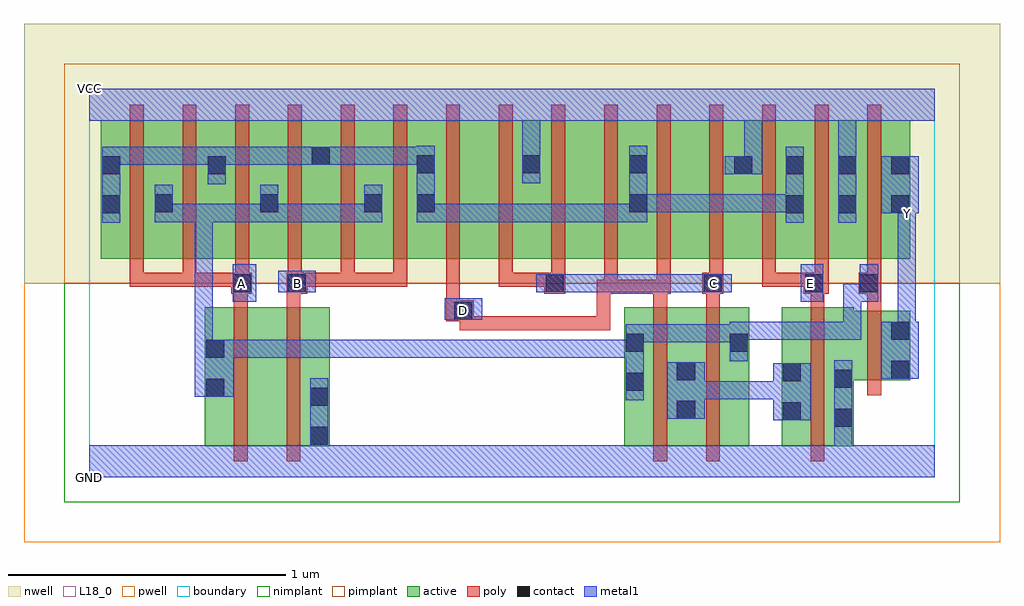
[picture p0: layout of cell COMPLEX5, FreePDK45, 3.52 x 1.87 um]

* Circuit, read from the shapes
.subckt COMPLEX5 A B C D E GND VCC Y
M1 n1 A n2 VSUBS nfet w=0.5u l=0.05u
M2 GND B n1 VSUBS nfet w=0.5u l=0.05u
M3 n3 D n2 VSUBS nfet w=0.5u l=0.05u
M4 n2 C n3 VSUBS nfet w=0.5u l=0.05u
M5 GND E n3 VSUBS nfet w=0.5u l=0.05u
M6 Y n2 GND VSUBS nfet w=0.25u l=0.05u
M7 n2 A n4 n5 pfet w=0.5u l=0.05u m=3
M8 n4 B n2 n5 pfet w=0.5u l=0.05u m=3
M9 n6 D n4 n5 pfet w=0.5u l=0.05u
M10 VCC C n6 n5 pfet w=0.5u l=0.05u
M11 n7 C VCC n5 pfet w=0.5u l=0.05u
M12 n4 D n7 n5 pfet w=0.5u l=0.05u
M13 n8 D n4 n5 pfet w=0.5u l=0.05u
M14 VCC C n8 n5 pfet w=0.5u l=0.05u
M15 n4 E VCC n5 pfet w=0.5u l=0.05u m=2
M16 Y n2 VCC n5 pfet w=0.5u l=0.05u
.ends

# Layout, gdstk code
import gdstk
lib = gdstk.Library(unit=1e-6, precision=1e-09)
def R(c, l, rs):  # rectangles x0, y0, x1, y1
    for r in rs: c.add(gdstk.rectangle(r[:2], r[2:], *l))
def A(c, l, x, y, w, h, nx, ny, dx, dy):  # array of equal rectangles
    R(c, l, [(x+i*dx, y+j*dy, x+i*dx+w, y+j*dy+h) for i in range(nx) for j in range(ny)])
active = (1, 0)
pwell = (2, 0)
nwell = (3, 0)
nimplant = (4, 0)
pimplant = (5, 0)
poly = (9, 0)
contact = (10, 0)
metal1 = (11, 0)
L18_0 = (18, 0)
boundary = (235, 0)

complex5 = lib.new_cell('COMPLEX5')
A(complex5, active, 0.042, 0.787, 0.265, 0.5, 3, 1, 0.19, 0)
R(complex5, active, [(0.417,0.112,0.642,0.612), (0.642,0.112,0.867,0.612), (0.792,0.112,0.867,0.612), (1.93,0.112,2.19,0.612), (2.115,0.112,2.38,0.612), (2.497,0.112,2.757,0.612), (0.417,0.145,0.522,0.612), (1.93,0.145,2.005,0.612), (2.115,0.145,2.19,0.592), (2.305,0.145,2.38,0.612), (2.497,0.145,2.572,0.612), (2.682,0.177,2.757,0.497), (2.682,0.35,2.962,0.6), (2.887,0.35,2.962,0.6), (0.042,0.787,0.117,1.2), (0.612,0.787,0.872,1.287), (0.797,0.787,1.062,1.287), (0.987,0.787,1.252,1.287), (1.177,0.787,1.407,1.287), (1.407,0.787,1.632,1.287), (1.557,0.787,1.787,1.287), (1.787,0.787,2.017,1.287), (1.942,0.787,2.167,1.287), (2.167,0.787,2.397,1.287), (2.322,0.787,2.582,1.287), (2.507,0.787,2.772,1.287), (2.697,0.787,2.962,1.287), (2.887,0.787,2.962,1.2), (0.232,0.807,0.307,1.07), (0.422,0.807,0.497,1.2), (0.612,0.807,0.687,1.07), (0.797,0.807,0.872,1.2), (0.987,0.807,1.062,1.07), (1.177,0.807,1.252,1.2), (1.557,0.807,1.632,1.255), (1.942,0.807,2.017,1.2), (2.322,0.807,2.397,1.255), (2.507,0.807,2.582,1.2), (2.697,0.807,2.772,1.255)])
R(complex5, pwell, [(-0.235,-0.235,3.285,0.7)])
R(complex5, nwell, [(-0.235,0.7,3.285,1.635)])
R(complex5, nimplant, [(-0.09,-0.09,3.14,0.7)])
R(complex5, pimplant, [(-0.09,0.7,3.14,1.49)])
A(complex5, poly, 0.147, 0.687, 0.05, 0.095, 6, 1, 0.19, 0)
A(complex5, poly, 2.237, 0.687, 0.05, 0.095, 4, 1, 0.19, 0)
A(complex5, poly, 0.147, 0.732, 0.05, 0.61, 15, 1, 0.19, 0)
R(complex5, poly, [(0.522,0.057,0.572,0.667), (0.712,0.057,0.762,0.667), (2.035,0.057,2.085,0.667), (2.225,0.057,2.275,0.667), (2.602,0.057,2.652,0.667), (2.807,0.295,2.857,0.655), (1.337,0.53,1.387,0.58), (1.337,0.53,1.387,0.58), (1.337,0.53,1.387,0.58), (1.337,0.53,1.56,0.58), (1.337,0.53,1.387,0.612), (1.51,0.53,1.56,0.58), (1.51,0.53,1.747,0.58), (1.697,0.53,1.747,0.58), (1.697,0.53,1.747,0.58), (1.697,0.53,1.747,0.58), (1.697,0.53,1.88,0.58), (1.83,0.53,1.88,0.58), (1.83,0.53,1.88,0.58), (1.83,0.53,1.88,0.58), (1.83,0.53,1.88,0.58), (1.83,0.53,1.88,0.58), (1.83,0.53,1.88,0.712), (1.287,0.562,1.387,0.637), (1.337,0.562,1.387,0.612), (1.337,0.562,1.387,0.612), (1.287,0.587,1.337,0.782), (2.807,0.605,2.857,0.712), (0.522,0.617,0.572,0.712), (0.712,0.617,0.762,0.712), (2.035,0.617,2.085,0.712), (2.225,0.617,2.275,0.712), (2.602,0.617,2.652,0.712), (0.512,0.662,0.587,0.737), (0.712,0.662,0.787,0.737), (1.642,0.662,1.717,0.737), (1.83,0.662,1.907,0.712), (1.857,0.662,1.907,0.782), (1.857,0.662,2.085,0.712), (2.035,0.662,2.085,0.712), (2.035,0.662,2.085,0.712), (2.035,0.662,2.097,0.712), (2.047,0.662,2.097,0.782), (2.212,0.662,2.287,0.737), (2.577,0.662,2.667,0.737), (2.775,0.662,2.857,0.737), (0.147,0.687,0.197,0.737), (0.147,0.687,0.197,0.737), (0.147,0.687,0.197,0.737), (0.147,0.687,0.387,0.737), (0.337,0.687,0.387,0.737), (0.337,0.687,0.387,0.737), (0.337,0.687,0.387,0.737), (0.337,0.687,0.562,0.737), (0.737,0.687,0.787,0.737), (0.737,0.687,0.787,0.737), (0.737,0.687,0.957,0.737), (0.907,0.687,0.957,0.737), (0.907,0.687,0.957,0.737), (0.907,0.687,0.957,0.737), (0.907,0.687,1.147,0.737), (1.097,0.687,1.147,0.737), (1.477,0.687,1.527,0.782), (1.477,0.687,1.527,0.737), (1.477,0.687,1.527,0.737), (1.477,0.687,1.527,0.737), (1.477,0.687,1.692,0.737), (1.667,0.687,1.717,0.782), (2.427,0.687,2.627,0.737), (2.427,0.687,2.477,0.737), (2.427,0.687,2.477,0.737), (2.427,0.687,2.477,0.737)])
A(complex5, contact, 2.512, 0.952, 0.065, 0.065, 3, 2, 0.19, 0.14)
R(complex5, contact, [(0.797,0.117,0.862,0.182), (2.687,0.182,2.752,0.247), (2.502,0.205,2.567,0.27), (2.12,0.21,2.185,0.275), (0.797,0.257,0.862,0.322), (0.422,0.29,0.487,0.355), (1.935,0.312,2,0.377), (2.687,0.322,2.752,0.387), (2.502,0.345,2.567,0.41), (2.12,0.35,2.185,0.415), (2.892,0.355,2.957,0.42), (0.422,0.43,0.487,0.495), (1.935,0.452,2,0.517), (2.31,0.452,2.375,0.517), (2.892,0.495,2.957,0.56), (1.317,0.567,1.382,0.632), (0.517,0.667,0.582,0.732), (0.717,0.667,0.782,0.732), (1.647,0.667,1.712,0.732), (2.217,0.667,2.282,0.732), (2.582,0.667,2.647,0.732), (2.78,0.667,2.845,0.732), (0.047,0.952,0.112,1.017), (0.237,0.955,0.302,1.02), (0.617,0.955,0.682,1.02), (0.992,0.955,1.057,1.02), (1.182,0.955,1.247,1.02), (1.947,0.955,2.012,1.02), (0.047,1.092,0.112,1.157), (0.427,1.092,0.492,1.157), (2.327,1.092,2.392,1.157), (1.182,1.095,1.247,1.16), (1.562,1.095,1.627,1.16), (1.947,1.095,2.012,1.16), (0.802,1.127,0.867,1.192)])
R(complex5, metal1, [(0,0,3.05,0.115), (0.797,0.05,0.862,0.147), (2.687,0.05,2.752,0.115), (2.687,0.05,2.752,0.115), (2.687,0.05,2.752,0.212), (0.797,0.082,0.862,0.147), (0.797,0.082,0.862,0.147), (0.797,0.082,0.862,0.357), (2.687,0.147,2.752,0.422), (2.467,0.205,2.602,0.41), (2.085,0.21,2.22,0.415), (1.935,0.277,2,0.552), (2.155,0.28,2.22,0.345), (2.155,0.28,2.22,0.345), (2.155,0.28,2.395,0.345), (2.33,0.28,2.395,0.345), (2.33,0.28,2.395,0.345), (2.33,0.28,2.395,0.345), (2.33,0.28,2.532,0.345), (0.38,0.29,0.522,0.495), (2.857,0.355,2.992,0.56), (2.31,0.417,2.375,0.552), (0.38,0.43,0.445,0.495), (0.38,0.43,0.445,0.495), (0.38,0.43,0.445,0.985), (0.457,0.43,0.522,0.495), (0.457,0.43,0.522,0.495), (0.457,0.43,0.66,0.495), (0.595,0.43,0.66,0.495), (0.595,0.43,0.66,0.495), (0.595,0.43,0.66,0.495), (0.595,0.43,0.832,0.495), (0.767,0.43,0.832,0.495), (0.767,0.43,0.832,0.495), (0.767,0.43,0.832,0.495), (0.767,0.43,1.057,0.495), (0.992,0.43,1.057,0.495), (0.992,0.43,1.195,0.495), (1.13,0.43,1.195,0.495), (1.13,0.43,1.195,0.495), (1.13,0.43,1.195,0.495), (1.13,0.43,1.402,0.495), (1.337,0.43,1.402,0.495), (1.337,0.43,1.402,0.495), (1.337,0.43,1.402,0.495), (1.337,0.43,1.54,0.495), (1.475,0.43,1.54,0.495), (1.475,0.43,1.54,0.495), (1.475,0.43,1.54,0.495), (1.475,0.43,1.677,0.495), (1.612,0.43,1.677,0.495), (1.612,0.43,1.677,0.495), (1.612,0.43,1.677,0.495), (1.612,0.43,1.885,0.495), (1.82,0.43,1.885,0.495), (1.82,0.43,2,0.495), (1.935,0.487,2.022,0.552), (1.957,0.487,2.022,0.552), (1.957,0.487,2.22,0.552), (2.155,0.487,2.22,0.552), (2.155,0.487,2.22,0.552), (2.155,0.487,2.22,0.552), (2.155,0.487,2.375,0.552), (2.31,0.487,2.375,0.552), (2.31,0.487,2.375,0.56), (2.31,0.495,2.532,0.56), (2.467,0.495,2.532,0.56), (2.467,0.495,2.532,0.56), (2.467,0.495,2.532,0.56), (2.467,0.495,2.785,0.56), (2.72,0.495,2.785,0.56), (2.72,0.495,2.785,0.697), (2.917,0.495,2.982,0.947), (1.282,0.567,1.417,0.645), (0.517,0.632,0.602,0.767), (2.567,0.632,2.647,0.767), (2.72,0.632,2.785,0.697), (2.72,0.632,2.845,0.697), (2.78,0.632,2.845,0.767), (0.682,0.667,0.817,0.745), (1.612,0.667,1.747,0.732), (1.682,0.667,1.747,0.732), (1.682,0.667,1.747,0.732), (1.682,0.667,1.885,0.732), (1.82,0.667,1.885,0.732), (1.82,0.667,1.885,0.732), (1.82,0.667,1.885,0.732), (1.82,0.667,2.022,0.732), (1.957,0.667,2.022,0.732), (1.957,0.667,2.22,0.732), (2.155,0.667,2.22,0.732), (2.155,0.667,2.247,0.732), (2.182,0.667,2.317,0.732), (2.917,0.882,2.982,1.017), (0.047,0.917,0.112,1.192), (2.512,0.917,2.577,1.192), (2.702,0.917,2.767,1.192), (0.237,0.92,0.302,0.985), (0.237,0.92,0.302,0.985), (0.237,0.92,0.302,1.055), (0.237,0.92,0.445,0.985), (0.38,0.92,0.445,0.985), (0.38,0.92,0.445,0.985), (0.38,0.92,0.445,0.985), (0.38,0.92,0.682,0.985), (0.617,0.92,0.682,0.985), (0.617,0.92,0.682,0.985), (0.617,0.92,0.682,1.055), (0.617,0.92,0.92,0.985), (0.855,0.92,0.92,0.985), (0.855,0.92,0.92,0.985), (0.855,0.92,0.92,0.985), (0.855,0.92,1.057,0.985), (0.992,0.92,1.057,1.055), (1.182,0.92,1.247,0.985), (1.182,0.92,1.247,0.985), (1.182,0.92,1.247,1.195), (1.182,0.92,1.385,0.985), (1.32,0.92,1.385,0.985), (1.32,0.92,1.385,0.985), (1.32,0.92,1.385,0.985), (1.32,0.92,1.54,0.985), (1.475,0.92,1.54,0.985), (1.475,0.92,1.54,0.985), (1.475,0.92,1.54,0.985), (1.475,0.92,1.747,0.985), (1.682,0.92,1.747,0.985), (1.682,0.92,1.747,0.985), (1.682,0.92,1.747,0.985), (1.682,0.92,1.885,0.985), (1.82,0.92,1.885,0.985), (1.82,0.92,2.012,0.985), (1.947,0.92,2.012,1.195), (2.857,0.952,2.992,1.157), (2.917,0.952,2.982,1.017), (1.947,0.955,2.022,1.02), (1.957,0.955,2.022,1.02), (1.957,0.955,2.22,1.02), (2.155,0.955,2.22,1.02), (2.155,0.955,2.22,1.02), (2.155,0.955,2.22,1.02), (2.155,0.955,2.395,1.02), (2.33,0.955,2.395,1.02), (2.33,0.955,2.395,1.02), (2.33,0.955,2.395,1.02), (2.33,0.955,2.577,1.02), (0.427,1.057,0.492,1.192), (1.562,1.06,1.627,1.195), (2.292,1.092,2.427,1.157), (2.362,1.092,2.427,1.35), (0.047,1.127,0.112,1.192), (0.047,1.127,0.112,1.192), (0.047,1.127,0.25,1.192), (0.185,1.127,0.25,1.192), (0.185,1.127,0.25,1.192), (0.185,1.127,0.25,1.192), (0.185,1.127,0.492,1.192), (0.427,1.127,0.492,1.192), (0.427,1.127,0.492,1.192), (0.427,1.127,0.695,1.192), (0.63,1.127,0.695,1.192), (0.63,1.127,0.695,1.192), (0.63,1.127,0.695,1.192), (0.63,1.127,0.832,1.192), (0.767,1.127,0.902,1.192), (0.837,1.127,1.057,1.192), (0.992,1.127,1.057,1.192), (0.992,1.127,1.057,1.192), (0.992,1.127,1.057,1.192), (0.992,1.127,1.195,1.192), (1.13,1.127,1.195,1.192), (1.13,1.127,1.247,1.192), (2.702,1.127,2.767,1.35), (1.562,1.13,1.627,1.35), (0,1.285,3.05,1.4)])
R(complex5, L18_0, [(0,0,3.05,0.115), (0.797,0.05,0.862,0.147), (2.687,0.05,2.752,0.115), (2.687,0.05,2.752,0.115), (2.687,0.05,2.752,0.212), (0.797,0.082,0.862,0.147), (0.797,0.082,0.862,0.147), (0.797,0.082,0.862,0.357), (2.687,0.147,2.752,0.422), (2.857,0.355,2.992,0.56), (2.917,0.495,2.982,0.947), (1.282,0.567,1.417,0.645), (1.317,0.567,1.382,0.632), (0.517,0.632,0.602,0.767), (2.567,0.632,2.647,0.767), (0.517,0.667,0.582,0.732), (0.682,0.667,0.817,0.745), (0.717,0.667,0.782,0.732), (1.612,0.667,1.747,0.732), (1.682,0.667,1.747,0.732), (1.682,0.667,1.747,0.732), (1.682,0.667,1.885,0.732), (1.82,0.667,1.885,0.732), (1.82,0.667,1.885,0.732), (1.82,0.667,1.885,0.732), (1.82,0.667,2.022,0.732), (1.957,0.667,2.022,0.732), (1.957,0.667,2.22,0.732), (2.155,0.667,2.22,0.732), (2.155,0.667,2.247,0.732), (2.182,0.667,2.317,0.732), (2.217,0.667,2.282,0.732), (2.567,0.667,2.632,0.732), (2.917,0.882,2.982,1.017), (2.702,0.917,2.767,1.192), (2.917,0.917,2.982,0.982), (2.857,0.952,2.992,1.157), (2.917,0.952,2.982,1.017), (1.562,1.06,1.627,1.195), (2.292,1.092,2.427,1.157), (2.362,1.092,2.427,1.35), (2.702,1.127,2.767,1.35), (1.562,1.13,1.627,1.35), (0,1.285,3.05,1.4)])
R(complex5, boundary, [(0,0,3.05,1.4)])
complex5.add(gdstk.Label('A', (0.55,0.7), layer=11, texttype=0))
complex5.add(gdstk.Label('B', (0.75,0.7), layer=11, texttype=0))
complex5.add(gdstk.Label('C', (2.25,0.7), layer=11, texttype=0))
complex5.add(gdstk.Label('D', (1.35,0.6), layer=11, texttype=0))
complex5.add(gdstk.Label('E', (2.6,0.7), layer=11, texttype=0))
complex5.add(gdstk.Label('Y', (2.95,0.95), layer=11, texttype=0))
complex5.add(gdstk.Label('VCC', (0,1.4), layer=11, texttype=0))
complex5.add(gdstk.Label('GND', (0,0), layer=11, texttype=0))

lib.write_gds('COMPLEX5.gds')
